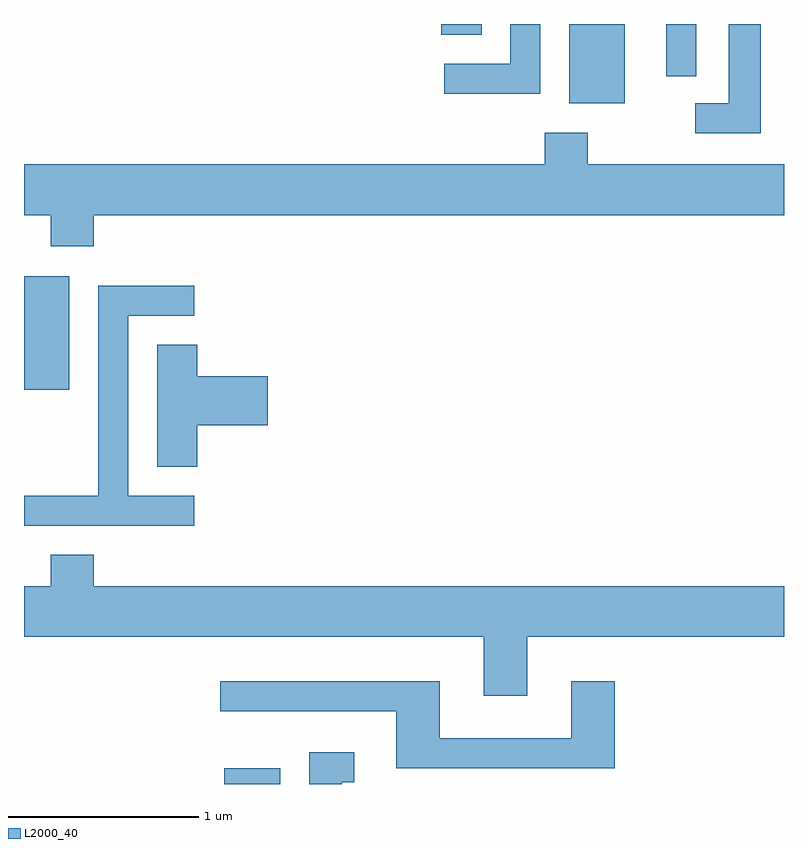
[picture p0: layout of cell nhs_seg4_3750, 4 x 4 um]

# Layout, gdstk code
import gdstk
lib = gdstk.Library(unit=1e-6, precision=1e-09)
def R(c, l, rs):  # rectangles x0, y0, x1, y1
    for r in rs: c.add(gdstk.rectangle(r[:2], r[2:], *l))
def P(c, l, *ps):  # polygons
    for p in ps: c.add(gdstk.Polygon(p, *l))
L2000_40 = (2000, 40)

nhs_seg4_3750 = lib.new_cell('nhs_seg4_3750')
R(nhs_seg4_3750, L2000_40, [(296.666,1273.982,296.959,1274.064), (295.611,1276.056,295.849,1276.654), (298.481,1277.566,298.774,1277.982), (298.991,1277.708,299.149,1277.982), (297.806,1277.926,298.019,1277.982)])
P(nhs_seg4_3750, L2000_40, [(298.329,1277.982),(298.171,1277.982),(298.171,1277.774),(297.823,1277.774),(297.823,1277.616),(298.329,1277.616)],
  [(299.489,1277.982),(299.321,1277.982),(299.321,1277.564),(299.143,1277.564),(299.143,1277.406),(299.489,1277.406)],
  [(295.979,1276.976),(299.611,1276.976),(299.611,1277.244),(298.579,1277.244),(298.579,1277.409),(298.351,1277.409),(298.351,1277.244),(295.611,1277.244),(295.611,1276.976),(295.751,1276.976),(295.751,1276.811),(295.979,1276.811)],
  [(296.508,1275.499),(296.159,1275.499),(296.159,1276.446),(296.508,1276.446),(296.508,1276.604),(296.001,1276.604),(296.001,1275.499),(295.611,1275.499),(295.611,1275.341),(296.508,1275.341)],
  [(296.524,1275.871),(296.894,1275.871),(296.894,1276.129),(296.524,1276.129),(296.524,1276.294),(296.311,1276.294),(296.311,1275.651),(296.524,1275.651)],
  [(298.259,1274.756),(299.611,1274.756),(299.611,1275.024),(295.979,1275.024),(295.979,1275.189),(295.751,1275.189),(295.751,1275.024),(295.611,1275.024),(295.611,1274.756),(298.031,1274.756),(298.031,1274.446),(298.259,1274.446)],
  [(298.719,1274.524),(298.491,1274.524),(298.491,1274.224),(297.799,1274.224),(297.799,1274.524),(296.643,1274.524),(296.643,1274.366),(297.571,1274.366),(297.571,1274.066),(298.719,1274.066)],
  [(297.284,1273.991),(297.348,1273.991),(297.348,1274.149),(297.111,1274.149),(297.111,1273.982),(297.284,1273.982)])

lib.write_gds('nhs_seg4_3750.gds')
